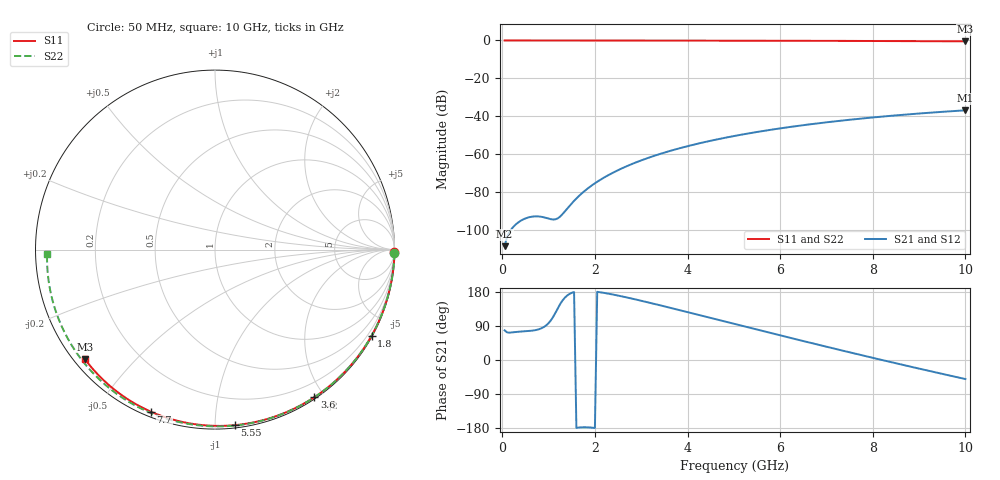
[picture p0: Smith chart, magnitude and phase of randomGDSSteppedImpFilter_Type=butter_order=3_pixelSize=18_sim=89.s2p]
! freq	dB(S11)	phase(S11)	dB(S12)	phase(S12)
!  dB(S21)	phase(S21)	dB(S22)	phase(S22)
!S-par simulation data
#  GHz  S  DB  R 50
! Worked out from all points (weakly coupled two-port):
!   200 points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, 50 MHz to 10 GHz, reference 50 ohm
!   highest |S21| = -36.87 dB at 10 GHz (marker M1); lowest = -108.6 dB at 50 MHz (marker M2)
!   lowest |S11| = -0.5 dB at 10 GHz (marker M3), VSWR 36.95, Z = 1.53 - j18.2 ohm
!   |S11| at or under -10 dB: nowhere
!   |S22| runs from -0.6 to 0.0 dB; largest |S21 - S12| = 0
!   S11 on the Smith chart (normalised r, x): 50 MHz: open; 1.8 GHz: 0.03, -3.90; 3.6 GHz: 0.02, -1.88; 5.55 GHz: 0.02, -1.12; 7.7 GHz: 0.02, -0.68; 10 GHz: 0.03, -0.36
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0.05  -0.00 -0.8  -108.57 78.3  -108.57 78.3  -0.00 -1.0
0.45  -0.01 -7.3  -94.46 75.4  -94.46 75.4  -0.01 -9.3
0.85  -0.02 -13.7  -93.08 84.0  -93.08 84.0  -0.02 -17.4
1.3  -0.03 -20.9  -91.65 157.0  -91.65 157.0  -0.03 -26.5
1.75  -0.04 -27.9  -80.00 -177.4  -80.00 -177.4  -0.04 -35.4
1.8  -0.04 -28.7  -78.98 -177.4  -78.98 -177.4  -0.05 -36.4
1.95  -0.04 -31.1  -76.22 -178.7  -76.22 -178.7  -0.05 -39.4
2.1  -0.04 -33.4  -73.79 179.0  -73.79 179.0  -0.05 -42.3
2.3  -0.05 -36.5  -70.95 174.9  -70.95 174.9  -0.06 -46.2
2.5  -0.05 -39.6  -68.45 170.0  -68.45 170.0  -0.06 -50.0
2.9  -0.06 -45.6  -64.22 159.2  -64.22 159.2  -0.07 -57.6
3.4  -0.07 -53.1  -59.94 144.6  -59.94 144.6  -0.09 -67.0
3.6  -0.08 -56.1  -58.46 138.5  -58.46 138.5  -0.09 -70.6
4.3  -0.09 -66.2  -54.02 117.1  -54.02 117.1  -0.12 -83.2
5.05  -0.12 -76.8  -50.23 94.0  -50.23 94.0  -0.15 -96.2
5.55  -0.14 -83.6  -48.10 78.7  -48.10 78.7  -0.17 -104.7
6.1  -0.16 -91.0  -46.05 62.0  -46.05 62.0  -0.20 -113.8
6.7  -0.19 -98.8  -44.09 44.0  -44.09 44.0  -0.24 -123.6
7.7  -0.25 -111.6  -41.35 14.4  -41.35 14.4  -0.32 -139.9
8.35  -0.31 -119.7  -39.86 -4.3  -39.86 -4.3  -0.38 -150.4
9.2  -0.38 -130.1  -38.19 -28.3  -38.19 -28.3  -0.47 -164.6
10  -0.47 -139.9  -36.87 -50.2  -36.87 -50.2  -0.58 -178.5
